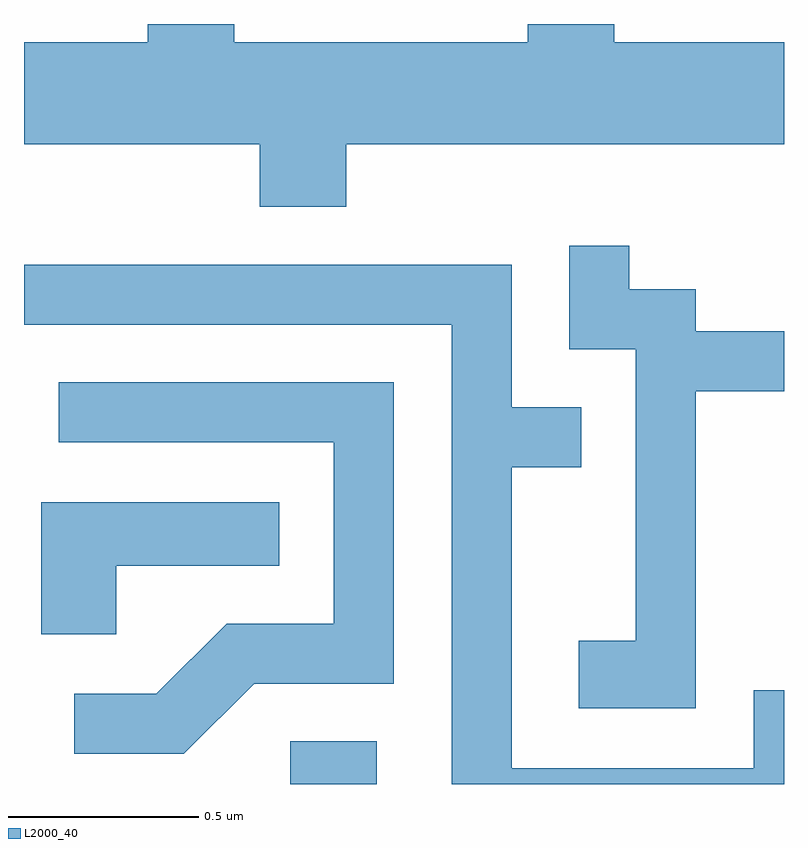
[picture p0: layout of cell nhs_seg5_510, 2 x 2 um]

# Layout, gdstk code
import gdstk
lib = gdstk.Library(unit=1e-6, precision=1e-09)
def R(c, l, rs):  # rectangles x0, y0, x1, y1
    for r in rs: c.add(gdstk.rectangle(r[:2], r[2:], *l))
def P(c, l, *ps):  # polygons
    for p in ps: c.add(gdstk.Polygon(p, *l))
L2000_40 = (2000, 40)

nhs_seg5_510 = lib.new_cell('nhs_seg5_510')
R(nhs_seg5_510, L2000_40, [(189.311,1495.072,189.539,1495.184)])
P(nhs_seg5_510, L2000_40, [(189.459,1496.756),(190.611,1496.756),(190.611,1497.024),(190.164,1497.024),(190.164,1497.072),(189.936,1497.072),(189.936,1497.024),(189.164,1497.024),(189.164,1497.072),(188.936,1497.072),(188.936,1497.024),(188.611,1497.024),(188.611,1496.756),(189.231,1496.756),(189.231,1496.591),(189.459,1496.591)],
  [(190.379,1496.106),(190.611,1496.106),(190.611,1496.264),(190.379,1496.264),(190.379,1496.374),(190.204,1496.374),(190.204,1496.488),(190.046,1496.488),(190.046,1496.216),(190.221,1496.216),(190.221,1495.449),(190.071,1495.449),(190.071,1495.271),(190.379,1495.271)],
  [(190.611,1495.319),(190.531,1495.319),(190.531,1495.114),(189.894,1495.114),(189.894,1495.906),(190.078,1495.906),(190.078,1496.064),(189.894,1496.064),(189.894,1496.439),(188.611,1496.439),(188.611,1496.281),(189.736,1496.281),(189.736,1495.072),(190.611,1495.072)],
  [(189.217,1495.336),(189.584,1495.336),(189.584,1496.129),(188.703,1496.129),(188.703,1495.971),(189.426,1495.971),(189.426,1495.494),(189.144,1495.494),(188.959,1495.309),(188.743,1495.309),(188.743,1495.151),(189.032,1495.151)],
  [(188.854,1495.646),(189.283,1495.646),(189.283,1495.814),(188.656,1495.814),(188.656,1495.466),(188.854,1495.466)])

lib.write_gds('nhs_seg5_510.gds')
